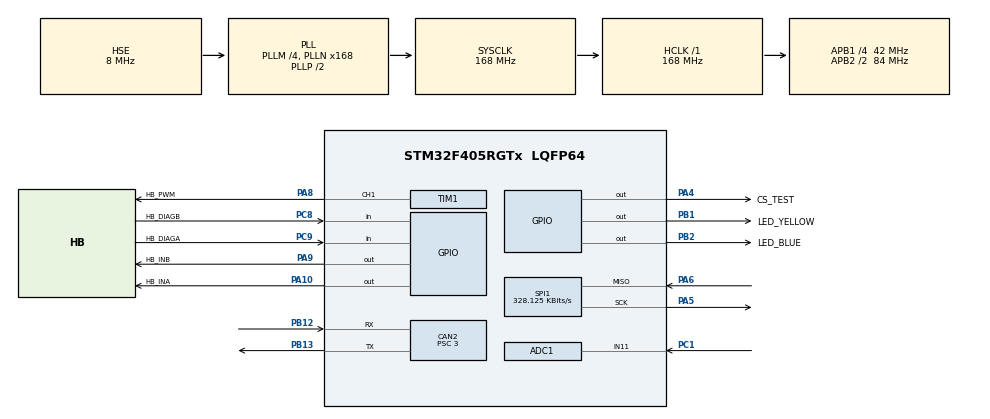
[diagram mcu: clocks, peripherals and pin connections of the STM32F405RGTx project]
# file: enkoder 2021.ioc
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ADC1.Channel-0\#ChannelRegularConversion=ADC_CHANNEL_11
ADC1.NbrOfConversionFlag=1
ADC1.Rank-0\#ChannelRegularConversion=1
ADC1.SamplingTime-0\#ChannelRegularConversion=ADC_SAMPLETIME_3CYCLES
ADC1.master=1
CAN2.BS1=CAN_BS1_12TQ
CAN2.BS2=CAN_BS2_2TQ
CAN2.CalculateBaudRate=933333
CAN2.CalculateTimeBit=1071.42
CAN2.CalculateTimeQuantum=71.42857142857143
CAN2.Prescaler=3
Mcu.Family=STM32F4
Mcu.Name=STM32F405RGTx
Mcu.Package=LQFP64
NVIC.PriorityGroup=NVIC_PRIORITYGROUP_4
NVIC.SPI1_IRQn=true\:0\:0\:false\:false\:true\:true\:true
NVIC.TIM1_UP_TIM10_IRQn=true\:0\:0\:false\:false\:true\:true\:true
NVIC.TIM3_IRQn=true\:0\:0\:false\:false\:true\:true\:true
PA10.GPIO_Label=HB_INA
PA10.Signal=GPIO_Output
PA13.Mode=Serial_Wire
PA13.Signal=SYS_JTMS-SWDIO
PA14.Mode=Serial_Wire
PA14.Signal=SYS_JTCK-SWCLK
PA4.GPIO_Label=CS_TEST
PA4.Signal=GPIO_Output
PA5.Mode=RX_Only_Simplex_Unidirect_Master
PA5.Signal=SPI1_SCK
PA6.Mode=RX_Only_Simplex_Unidirect_Master
PA6.Signal=SPI1_MISO
PA8.GPIO_Label=HB_PWM
PA8.Signal=S_TIM1_CH1
PA9.GPIO_Label=HB_INB
PA9.Signal=GPIO_Output
PB1.GPIO_Label=LED_YELLOW
PB1.Signal=GPIO_Output
PB12.Mode=CAN_Activate
PB12.Signal=CAN2_RX
PB13.Mode=CAN_Activate
PB13.Signal=CAN2_TX
PB2.GPIO_Label=LED_BLUE
PB2.Signal=GPIO_Output
PC1.Signal=ADCx_IN11
PC8.GPIO_Label=HB_DIAGB
PC8.Signal=GPIO_Input
PC9.GPIO_Label=HB_DIAGA
PC9.Signal=GPIO_Input
PH0-OSC_IN.Mode=HSE-External-Oscillator
PH0-OSC_IN.Signal=RCC_OSC_IN
PH1-OSC_OUT.Mode=HSE-External-Oscillator
PH1-OSC_OUT.Signal=RCC_OSC_OUT
ProjectManager.HeapSize=0x200
ProjectManager.StackSize=0x400
ProjectManager.TargetToolchain=STM32CubeIDE
RCC.48MHZClocksFreq_Value=84000000
RCC.AHBFreq_Value=168000000
RCC.APB1CLKDivider=RCC_HCLK_DIV4
RCC.APB1Freq_Value=42000000
RCC.APB1TimFreq_Value=84000000
RCC.APB2CLKDivider=RCC_HCLK_DIV2
RCC.APB2Freq_Value=84000000
RCC.APB2TimFreq_Value=168000000
RCC.CortexFreq_Value=168000000
RCC.HCLKFreq_Value=168000000
RCC.HSE_VALUE=8000000
RCC.HSI_VALUE=16000000
RCC.LSE_VALUE=32768
RCC.PLLM=4
RCC.PLLN=168
RCC.PLLSourceVirtual=RCC_PLLSOURCE_HSE
RCC.SYSCLKFreq_VALUE=168000000
RCC.SYSCLKSource=RCC_SYSCLKSOURCE_PLLCLK
RCC.VCOOutputFreq_Value=336000000
SH.ADCx_IN11.0=ADC1_IN11,IN11
SH.S_TIM1_CH1.0=TIM1_CH1,PWM Generation1 CH1
SPI1.BaudRatePrescaler=SPI_BAUDRATEPRESCALER_256
SPI1.CLKPhase=SPI_PHASE_2EDGE
SPI1.CalculateBaudRate=328.125 KBits/s
SPI1.Direction=SPI_DIRECTION_2LINES_RXONLY
SPI1.Mode=SPI_MODE_MASTER
SPI1.VirtualType=VM_MASTER
TIM1.AutoReloadPreload=TIM_AUTORELOAD_PRELOAD_ENABLE
TIM1.Channel-PWM\ Generation1\ CH1=TIM_CHANNEL_1
TIM1.Period=999
TIM1.Prescaler=16
TIM10.Period=335
TIM10.Prescaler=999
VP_TIM10_VS_ClockSourceINT.Mode=Enable_Timer
VP_TIM1_VS_ClockSourceINT.Mode=Internal
VP_TIM3_VS_ClockSourceINT.Mode=Internal
board=custom

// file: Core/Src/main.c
/* USER CODE BEGIN Header */
/**
  ******************************************************************************
  * @file           : main.c
  * @brief          : Main program body
  ******************************************************************************
  * @attention
  *
  * <h2><center>&copy; Copyright (c) 2021 STMicroelectronics.
  * All rights reserved.</center></h2>
  *
  * This software component is licensed by ST under BSD 3-Clause license,
  * the "License"; You may not use this file except in compliance with the
  * License. You may obtain a copy of the License at:
  *                        opensource.org/licenses/BSD-3-Clause
  *
  ******************************************************************************
  */
/* USER CODE END Header */
#include "main.h"

/* USER CODE BEGIN Includes */
#include "pid.h"
#include "encoder.h"
#include "motor.h"
#include "iirFilter.h"
#include <stdbool.h>
/* USER CODE END Includes */

/* USER CODE BEGIN PD */
#define LED_YELLOW_ON HAL_GPIO_WritePin(GPIOB, LED_YELLOW_Pin, GPIO_PIN_SET);
#define LED_YELLOW_OFF HAL_GPIO_WritePin(GPIOB, LED_YELLOW_Pin, GPIO_PIN_RESET);
#define LED_BLUE_ON HAL_GPIO_WritePin(GPIOB, LED_BLUE_Pin, GPIO_PIN_SET);
#define LED_BLUE_OFF HAL_GPIO_WritePin(GPIOB, LED_BLUE_Pin, GPIO_PIN_RESET);
/* USER CODE END PD */

ADC_HandleTypeDef hadc1;

CAN_HandleTypeDef hcan2;

SPI_HandleTypeDef hspi1;

TIM_HandleTypeDef htim1;
TIM_HandleTypeDef htim3;
TIM_HandleTypeDef htim10;

/* USER CODE BEGIN PV */
extern PID_Properties_t pidProperties;
volatile float feedback = 0, filteredFeedback = 0;
float setpoint = 100;
volatile uint16_t counter2ms = 0;
float pidResult;

float minAllowedAngle = -300;
float maxAllowedAngle = 300;

MotorConfig mot1;
/* USER CODE END PV */

void SystemClock_Config(void);
static void MX_GPIO_Init(void);
static void MX_CAN2_Init(void);
static void MX_TIM3_Init(void);
static void MX_ADC1_Init(void);
static void MX_SPI1_Init(void);
static void MX_TIM1_Init(void);
static void MX_TIM10_Init(void);
/* USER CODE BEGIN PFP */
static void MotorInit(){
	mot1.polarization = Reverse;
	mot1.Motor_Min = 10;
	mot1.PWM_Min= 0;
	mot1.PWM_Max= 1000;

}

bool checkIfMovementAllowed(float setpoint, float feedback, float minAllowedAngle, float maxAllowedAngle) {
  bool isNextSetpointInAllowedRange = setpoint < maxAllowedAngle && setpoint > minAllowedAngle;
  return isNextSetpointInAllowedRange;
}

void HAL_TIM_PeriodElapsedCallback(TIM_HandleTypeDef *htim){
	  // Each 2ms (CPU_CLK=168, PSC=999, ARR=335)
	  if(htim->Instance == TIM10){
		  InitSPIRec();

	    counter2ms++;
	  }

}

void HAL_SPI_RxCpltCallback(SPI_HandleTypeDef *hspi){

	feedback = getAngle();
    filteredFeedback = IIR(feedback, 0.5f); // low pass filter

    if(checkIfMovementAllowed(setpoint, filteredFeedback, minAllowedAngle, maxAllowedAngle)){

      PID(&pidProperties, setpoint, filteredFeedback, &pidResult, noDerivative, false);
      set_speed((int32_t)pidResult, &mot1);
    }else{
    	set_speed(0,&mot1);
    }

}
/* USER CODE END PFP */

int main(void)
{

  /* MCU Configuration--------------------------------------------------------*/

  /* Reset of all peripherals, Initializes the Flash interface and the Systick. */
  HAL_Init();

  /* Configure the system clock */
  SystemClock_Config();

  /* Initialize all configured peripherals */
  MX_GPIO_Init();
  MX_CAN2_Init();
  MX_TIM3_Init();
  MX_ADC1_Init();
  MX_SPI1_Init();
  MX_TIM1_Init();
  MX_TIM10_Init();
  /* USER CODE BEGIN 2 */
  MotorInit();
  start_pwm();
  set_speed(0,&mot1);
  init_pid();
  HAL_TIM_Base_Start_IT(&htim10);

  /* USER CODE END 2 */

  /* Infinite loop */
  /* USER CODE BEGIN WHILE */
  while (1)
  {
	    if(counter2ms == 100) {
	      LED_YELLOW_ON;
	      LED_BLUE_ON;
	    }else if (counter2ms == 200){
	      LED_YELLOW_OFF;
	      LED_BLUE_OFF;
	      counter2ms = 0;
	    }

    /* USER CODE END WHILE */

  }
}

void SystemClock_Config(void)
{
  RCC_OscInitTypeDef RCC_OscInitStruct = {0};
  RCC_ClkInitTypeDef RCC_ClkInitStruct = {0};

  /** Configure the main internal regulator output voltage
  */
  __HAL_RCC_PWR_CLK_ENABLE();
  __HAL_PWR_VOLTAGESCALING_CONFIG(PWR_REGULATOR_VOLTAGE_SCALE1);
  /** Initializes the RCC Oscillators according to the specified parameters
  * in the RCC_OscInitTypeDef structure.
  */
  RCC_OscInitStruct.OscillatorType = RCC_OSCILLATORTYPE_HSE;
  RCC_OscInitStruct.HSEState = RCC_HSE_ON;
  RCC_OscInitStruct.PLL.PLLState = RCC_PLL_ON;
  RCC_OscInitStruct.PLL.PLLSource = RCC_PLLSOURCE_HSE;
  RCC_OscInitStruct.PLL.PLLM = 4;
  RCC_OscInitStruct.PLL.PLLN = 168;
  RCC_OscInitStruct.PLL.PLLP = RCC_PLLP_DIV2;
  RCC_OscInitStruct.PLL.PLLQ = 4;
  if (HAL_RCC_OscConfig(&RCC_OscInitStruct) != HAL_OK)
  {
    Error_Handler();
  }
  /** Initializes the CPU, AHB and APB buses clocks
  */
  RCC_ClkInitStruct.ClockType = RCC_CLOCKTYPE_HCLK|RCC_CLOCKTYPE_SYSCLK
                              |RCC_CLOCKTYPE_PCLK1|RCC_CLOCKTYPE_PCLK2;
  RCC_ClkInitStruct.SYSCLKSource = RCC_SYSCLKSOURCE_PLLCLK;
  RCC_ClkInitStruct.AHBCLKDivider = RCC_SYSCLK_DIV1;
  RCC_ClkInitStruct.APB1CLKDivider = RCC_HCLK_DIV4;
  RCC_ClkInitStruct.APB2CLKDivider = RCC_HCLK_DIV2;

  if (HAL_RCC_ClockConfig(&RCC_ClkInitStruct, FLASH_LATENCY_5) != HAL_OK)
  {
    Error_Handler();
  }
}

static void MX_ADC1_Init(void)
{

  ADC_ChannelConfTypeDef sConfig = {0};

  /** Configure the global features of the ADC (Clock, Resolution, Data Alignment and number of conversion)
  */
  hadc1.Instance = ADC1;
  hadc1.Init.ClockPrescaler = ADC_CLOCK_SYNC_PCLK_DIV4;
  hadc1.Init.Resolution = ADC_RESOLUTION_12B;
  hadc1.Init.ScanConvMode = DISABLE;
  hadc1.Init.ContinuousConvMode = DISABLE;
  hadc1.Init.DiscontinuousConvMode = DISABLE;
  hadc1.Init.ExternalTrigConvEdge = ADC_EXTERNALTRIGCONVEDGE_NONE;
  hadc1.Init.ExternalTrigConv = ADC_SOFTWARE_START;
  hadc1.Init.DataAlign = ADC_DATAALIGN_RIGHT;
  hadc1.Init.NbrOfConversion = 1;
  hadc1.Init.DMAContinuousRequests = DISABLE;
  hadc1.Init.EOCSelection = ADC_EOC_SINGLE_CONV;
  if (HAL_ADC_Init(&hadc1) != HAL_OK)
  {
    Error_Handler();
  }
  /** Configure for the selected ADC regular channel its corresponding rank in the sequencer and its sample time.
  */
  sConfig.Channel = ADC_CHANNEL_11;
  sConfig.Rank = 1;
  sConfig.SamplingTime = ADC_SAMPLETIME_3CYCLES;
  if (HAL_ADC_ConfigChannel(&hadc1, &sConfig) != HAL_OK)
  {
    Error_Handler();
  }

}

static void MX_CAN2_Init(void)
{

  hcan2.Instance = CAN2;
  hcan2.Init.Prescaler = 3;
  hcan2.Init.Mode = CAN_MODE_NORMAL;
  hcan2.Init.SyncJumpWidth = CAN_SJW_1TQ;
  hcan2.Init.TimeSeg1 = CAN_BS1_12TQ;
  hcan2.Init.TimeSeg2 = CAN_BS2_2TQ;
  hcan2.Init.TimeTriggeredMode = DISABLE;
  hcan2.Init.AutoBusOff = DISABLE;
  hcan2.Init.AutoWakeUp = DISABLE;
  hcan2.Init.AutoRetransmission = DISABLE;
  hcan2.Init.ReceiveFifoLocked = DISABLE;
  hcan2.Init.TransmitFifoPriority = DISABLE;
  if (HAL_CAN_Init(&hcan2) != HAL_OK)
  {
    Error_Handler();
  }

}

static void MX_SPI1_Init(void)
{

  /* SPI1 parameter configuration*/
  hspi1.Instance = SPI1;
  hspi1.Init.Mode = SPI_MODE_MASTER;
  hspi1.Init.Direction = SPI_DIRECTION_2LINES_RXONLY;
  hspi1.Init.DataSize = SPI_DATASIZE_8BIT;
  hspi1.Init.CLKPolarity = SPI_POLARITY_LOW;
  hspi1.Init.CLKPhase = SPI_PHASE_2EDGE;
  hspi1.Init.NSS = SPI_NSS_SOFT;
  hspi1.Init.BaudRatePrescaler = SPI_BAUDRATEPRESCALER_256;
  hspi1.Init.FirstBit = SPI_FIRSTBIT_MSB;
  hspi1.Init.TIMode = SPI_TIMODE_DISABLE;
  hspi1.Init.CRCCalculation = SPI_CRCCALCULATION_DISABLE;
  hspi1.Init.CRCPolynomial = 10;
  if (HAL_SPI_Init(&hspi1) != HAL_OK)
  {
    Error_Handler();
  }

}

static void MX_TIM1_Init(void)
{

  TIM_ClockConfigTypeDef sClockSourceConfig = {0};
  TIM_MasterConfigTypeDef sMasterConfig = {0};
  TIM_OC_InitTypeDef sConfigOC = {0};
  TIM_BreakDeadTimeConfigTypeDef sBreakDeadTimeConfig = {0};

  htim1.Instance = TIM1;
  htim1.Init.Prescaler = 16;
  htim1.Init.CounterMode = TIM_COUNTERMODE_UP;
  htim1.Init.Period = 999;
  htim1.Init.ClockDivision = TIM_CLOCKDIVISION_DIV1;
  htim1.Init.RepetitionCounter = 0;
  htim1.Init.AutoReloadPreload = TIM_AUTORELOAD_PRELOAD_ENABLE;
  if (HAL_TIM_Base_Init(&htim1) != HAL_OK)
  {
    Error_Handler();
  }
  sClockSourceConfig.ClockSource = TIM_CLOCKSOURCE_INTERNAL;
  if (HAL_TIM_ConfigClockSource(&htim1, &sClockSourceConfig) != HAL_OK)
  {
    Error_Handler();
  }
  if (HAL_TIM_PWM_Init(&htim1) != HAL_OK)
  {
    Error_Handler();
  }
  sMasterConfig.MasterOutputTrigger = TIM_TRGO_RESET;
  sMasterConfig.MasterSlaveMode = TIM_MASTERSLAVEMODE_DISABLE;
  if (HAL_TIMEx_MasterConfigSynchronization(&htim1, &sMasterConfig) != HAL_OK)
  {
    Error_Handler();
  }
  sConfigOC.OCMode = TIM_OCMODE_PWM1;
  sConfigOC.Pulse = 0;
  sConfigOC.OCPolarity = TIM_OCPOLARITY_HIGH;
  sConfigOC.OCNPolarity = TIM_OCNPOLARITY_HIGH;
  sConfigOC.OCFastMode = TIM_OCFAST_DISABLE;
  sConfigOC.OCIdleState = TIM_OCIDLESTATE_RESET;
  sConfigOC.OCNIdleState = TIM_OCNIDLESTATE_RESET;
  if (HAL_TIM_PWM_ConfigChannel(&htim1, &sConfigOC, TIM_CHANNEL_1) != HAL_OK)
  {
    Error_Handler();
  }
  sBreakDeadTimeConfig.OffStateRunMode = TIM_OSSR_DISABLE;
  sBreakDeadTimeConfig.OffStateIDLEMode = TIM_OSSI_DISABLE;
  sBreakDeadTimeConfig.LockLevel = TIM_LOCKLEVEL_OFF;
  sBreakDeadTimeConfig.DeadTime = 0;
  sBreakDeadTimeConfig.BreakState = TIM_BREAK_DISABLE;
  sBreakDeadTimeConfig.BreakPolarity = TIM_BREAKPOLARITY_HIGH;
  sBreakDeadTimeConfig.AutomaticOutput = TIM_AUTOMATICOUTPUT_DISABLE;
  if (HAL_TIMEx_ConfigBreakDeadTime(&htim1, &sBreakDeadTimeConfig) != HAL_OK)
  {
    Error_Handler();
  }
  HAL_TIM_MspPostInit(&htim1);

}

static void MX_TIM3_Init(void)
{

  TIM_ClockConfigTypeDef sClockSourceConfig = {0};
  TIM_MasterConfigTypeDef sMasterConfig = {0};

  htim3.Instance = TIM3;
  htim3.Init.Prescaler = 0;
  htim3.Init.CounterMode = TIM_COUNTERMODE_UP;
  htim3.Init.Period = 65535;
  htim3.Init.ClockDivision = TIM_CLOCKDIVISION_DIV1;
  htim3.Init.AutoReloadPreload = TIM_AUTORELOAD_PRELOAD_DISABLE;
  if (HAL_TIM_Base_Init(&htim3) != HAL_OK)
  {
    Error_Handler();
  }
  sClockSourceConfig.ClockSource = TIM_CLOCKSOURCE_INTERNAL;
  if (HAL_TIM_ConfigClockSource(&htim3, &sClockSourceConfig) != HAL_OK)
  {
    Error_Handler();
  }
  sMasterConfig.MasterOutputTrigger = TIM_TRGO_RESET;
  sMasterConfig.MasterSlaveMode = TIM_MASTERSLAVEMODE_DISABLE;
  if (HAL_TIMEx_MasterConfigSynchronization(&htim3, &sMasterConfig) != HAL_OK)
  {
    Error_Handler();
  }

}

static void MX_TIM10_Init(void)
{

  htim10.Instance = TIM10;
  htim10.Init.Prescaler = 999;
  htim10.Init.CounterMode = TIM_COUNTERMODE_UP;
  htim10.Init.Period = 335;
  htim10.Init.ClockDivision = TIM_CLOCKDIVISION_DIV1;
  htim10.Init.AutoReloadPreload = TIM_AUTORELOAD_PRELOAD_DISABLE;
  if (HAL_TIM_Base_Init(&htim10) != HAL_OK)
  {
    Error_Handler();
  }

}

static void MX_GPIO_Init(void)
{
  GPIO_InitTypeDef GPIO_InitStruct = {0};

  /* GPIO Ports Clock Enable */
  __HAL_RCC_GPIOH_CLK_ENABLE();
  __HAL_RCC_GPIOC_CLK_ENABLE();
  __HAL_RCC_GPIOA_CLK_ENABLE();
  __HAL_RCC_GPIOB_CLK_ENABLE();

  /*Configure GPIO pin Output Level */
  HAL_GPIO_WritePin(GPIOA, CS_TEST_Pin|HB_INB_Pin|HB_INA_Pin, GPIO_PIN_RESET);

  /*Configure GPIO pin Output Level */
  HAL_GPIO_WritePin(GPIOB, LED_YELLOW_Pin|LED_BLUE_Pin, GPIO_PIN_RESET);

  /*Configure GPIO pins : CS_TEST_Pin HB_INB_Pin HB_INA_Pin */
  GPIO_InitStruct.Pin = CS_TEST_Pin|HB_INB_Pin|HB_INA_Pin;
  GPIO_InitStruct.Mode = GPIO_MODE_OUTPUT_PP;
  GPIO_InitStruct.Pull = GPIO_NOPULL;
  GPIO_InitStruct.Speed = GPIO_SPEED_FREQ_LOW;
  HAL_GPIO_Init(GPIOA, &GPIO_InitStruct);

  /*Configure GPIO pins : LED_YELLOW_Pin LED_BLUE_Pin */
  GPIO_InitStruct.Pin = LED_YELLOW_Pin|LED_BLUE_Pin;
  GPIO_InitStruct.Mode = GPIO_MODE_OUTPUT_PP;
  GPIO_InitStruct.Pull = GPIO_NOPULL;
  GPIO_InitStruct.Speed = GPIO_SPEED_FREQ_LOW;
  HAL_GPIO_Init(GPIOB, &GPIO_InitStruct);

  /*Configure GPIO pins : HB_DIAGB_Pin HB_DIAGA_Pin */
  GPIO_InitStruct.Pin = HB_DIAGB_Pin|HB_DIAGA_Pin;
  GPIO_InitStruct.Mode = GPIO_MODE_INPUT;
  GPIO_InitStruct.Pull = GPIO_NOPULL;
  HAL_GPIO_Init(GPIOC, &GPIO_InitStruct);

}

void Error_Handler(void)
{
  __disable_irq();
  while (1)
  {
  }
}

/************************ (C) COPYRIGHT STMicroelectronics *****END OF FILE****/
